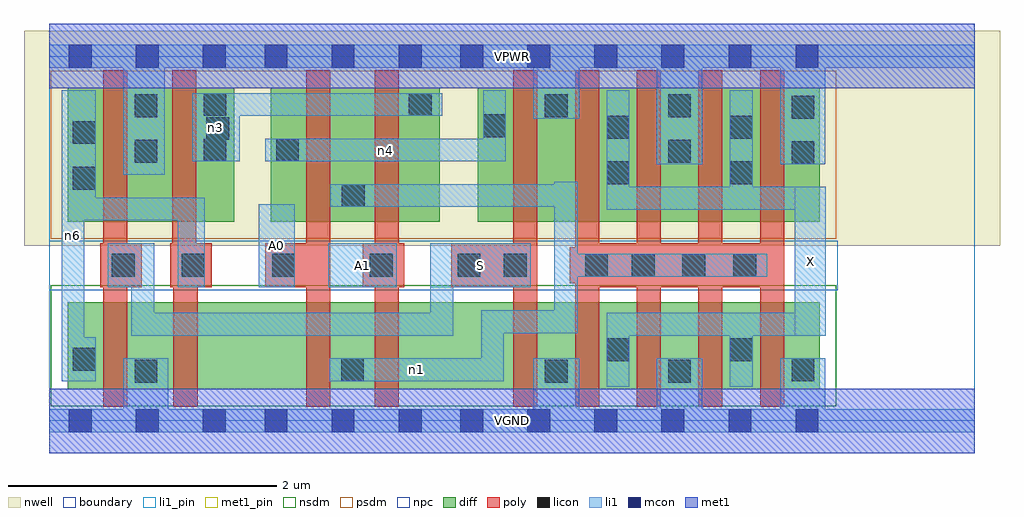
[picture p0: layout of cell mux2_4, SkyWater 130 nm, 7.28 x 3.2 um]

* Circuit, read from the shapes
.subckt mux2_4 A0 A1 S VGND VPWR X n1 n3 n4 n6
XM1 VGND S n6 VSUBS sky130_fd_pr__nfet_01v8 w=0.65 l=0.18
XM2 n2 n6 VGND VSUBS sky130_fd_pr__nfet_01v8 w=0.65 l=0.18
XM3 n1 A0 n2 VSUBS sky130_fd_pr__nfet_01v8 w=0.65 l=0.18
XM4 n5 A1 n1 VSUBS sky130_fd_pr__nfet_01v8 w=0.65 l=0.18
XM5 VGND S n5 VSUBS sky130_fd_pr__nfet_01v8 w=0.65 l=0.18
XM6 X n1 VGND VSUBS sky130_fd_pr__nfet_01v8 w=0.65 l=0.18 m=4
XM7 VPWR S n6 n7 sky130_fd_pr__pfet_01v8 w=1 l=0.18
XM8 n3 n6 VPWR n7 sky130_fd_pr__pfet_01v8 w=1 l=0.18
XM9 n1 A0 n4 n7 sky130_fd_pr__pfet_01v8 w=1 l=0.18
XM10 n3 A1 n1 n7 sky130_fd_pr__pfet_01v8 w=1 l=0.18
XM11 VPWR S n4 n7 sky130_fd_pr__pfet_01v8 w=1 l=0.18
XM12 X n1 VPWR n7 sky130_fd_pr__pfet_01v8 w=1 l=0.18 m=4
.ends

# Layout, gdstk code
import gdstk
lib = gdstk.Library(unit=1e-6, precision=1e-09)
def R(c, l, rs):  # rectangles x0, y0, x1, y1
    for r in rs: c.add(gdstk.rectangle(r[:2], r[2:], *l))
def A(c, l, x, y, w, h, nx, ny, dx, dy):  # array of equal rectangles
    R(c, l, [(x+i*dx, y+j*dy, x+i*dx+w, y+j*dy+h) for i in range(nx) for j in range(ny)])
nwell = (64, 20)
diff = (65, 20)
poly = (66, 20)
licon = (66, 44)
li1_pin = (67, 16)
li1 = (67, 20)
mcon = (67, 44)
met1_pin = (68, 16)
met1 = (68, 20)
nsdm = (93, 44)
psdm = (94, 20)
npc = (95, 20)
boundary = (235, 4)

mux2_4 = lib.new_cell('mux2_4')
R(mux2_4, nwell, [(-0.19,1.305,7.09,2.91), (0,1.305,6.9,2.91)])
R(mux2_4, diff, [(0.135,0.235,5.745,0.885), (0.135,1.485,1.38,2.485), (1.65,1.485,2.91,2.485), (3.195,1.485,5.745,2.485)])
A(mux2_4, poly, 3.46, 0.105, 0.18, 2.51, 5, 1, 0.46, 0)
R(mux2_4, poly, [(0.4,0.105,0.58,2.615), (0.925,0.105,1.105,1.325), (1.915,0.105,2.095,2.615), (2.425,0.105,2.605,2.615), (0.38,0.995,0.69,1.325), (0.9,0.995,1.21,1.325), (0.915,0.995,1.095,2.615), (1.61,0.995,2.095,1.325), (2.335,0.995,2.645,1.325), (2.995,0.995,3.64,1.325), (3.92,0.995,5.48,1.325), (3.88,1.025,5.48,1.295)])
R(mux2_4, licon, [(0.635,0.285,0.805,0.455), (3.695,0.285,3.865,0.455), (4.615,0.285,4.785,0.455), (2.175,0.295,2.345,0.465), (5.535,0.295,5.705,0.465), (0.175,0.375,0.345,0.545), (4.155,0.445,4.325,0.615), (5.075,0.445,5.245,0.615), (0.465,1.075,0.635,1.245), (0.985,1.075,1.155,1.245), (1.66,1.075,1.83,1.245), (2.39,1.075,2.56,1.245), (3.045,1.075,3.215,1.245), (3.39,1.075,3.56,1.245), (3.995,1.075,4.165,1.245), (4.345,1.075,4.515,1.245), (4.72,1.075,4.89,1.245), (5.1,1.075,5.27,1.245), (2.18,1.595,2.35,1.765), (0.175,1.725,0.345,1.895), (4.155,1.765,4.325,1.935), (5.075,1.765,5.245,1.935), (5.535,1.915,5.705,2.085), (0.635,1.925,0.805,2.095), (4.615,1.925,4.785,2.095), (1.15,1.935,1.32,2.105), (1.69,1.935,1.86,2.105), (0.175,2.065,0.345,2.235), (1.17,2.095,1.34,2.265), (4.155,2.105,4.325,2.275), (5.075,2.105,5.245,2.275), (3.235,2.115,3.405,2.285), (5.535,2.255,5.705,2.425), (0.635,2.265,0.805,2.435), (3.695,2.265,3.865,2.435), (4.615,2.265,4.785,2.435), (1.15,2.275,1.32,2.445), (2.68,2.275,2.85,2.445)])
R(mux2_4, li1_pin, [(5.56,0.635,5.79,1.745), (1.56,0.995,1.83,1.615), (2.08,0.995,2.59,1.325), (2.84,0.995,3.59,1.325)])
R(mux2_4, li1, [(0,-0.085,6.9,0.085), (0.55,-0.085,0.885,0.465), (3.61,-0.085,3.95,0.465), (4.53,-0.085,4.87,0.465), (5.45,-0.085,5.785,0.465), (4.155,0.255,4.325,0.805), (5.075,0.255,5.245,0.805), (0.09,0.295,0.26,2.465), (0.09,0.295,0.345,0.625), (2.09,0.295,3.39,0.465), (3.22,0.295,3.39,0.825), (0.61,0.635,3.01,0.805), (0.61,0.635,0.78,1.325), (2.84,0.635,3.01,1.325), (4.155,0.635,5.79,0.805), (5.56,0.635,5.79,1.745), (3.22,0.655,3.94,0.825), (3.765,0.655,3.94,1.785), (0.435,0.995,0.78,1.325), (0.955,0.995,1.16,1.665), (1.56,0.995,1.83,1.615), (2.08,0.995,2.59,1.325), (2.84,0.995,3.59,1.325), (3.765,1.075,5.355,1.245), (0.09,1.495,1.16,1.665), (0.09,1.495,0.345,2.465), (4.155,1.575,5.79,1.745), (4.155,1.575,4.325,2.465), (5.075,1.575,5.245,2.465), (2.095,1.595,3.94,1.765), (0.55,1.835,0.86,2.805), (4.53,1.915,4.87,2.805), (5.45,1.915,5.785,2.805), (1.065,1.935,1.42,2.445), (1.61,1.935,3.405,2.105), (3.235,1.935,3.405,2.465), (3.61,2.255,3.95,2.805), (1.065,2.275,2.93,2.445), (0,2.635,6.9,2.805)])
A(mux2_4, mcon, 0.145, -0.085, 0.17, 0.17, 3, 2, 0.5, 2.72)
A(mux2_4, mcon, 1.605, -0.085, 0.17, 0.17, 3, 2, 0.5, 2.72)
A(mux2_4, mcon, 3.065, -0.085, 0.17, 0.17, 6, 2, 0.5, 2.72)
R(mux2_4, met1_pin, [(0,-0.24,6.9,0.24), (0,2.48,6.9,2.96)])
R(mux2_4, met1, [(0,-0.24,6.9,0.24), (0,2.48,6.9,2.96)])
R(mux2_4, nsdm, [(0.01,0.11,5.87,1.01)])
R(mux2_4, psdm, [(0.01,1.36,5.87,2.61)])
R(mux2_4, npc, [(0,0.975,5.88,1.345)])
R(mux2_4, boundary, [(0,0,6.9,2.72)])
mux2_4.add(gdstk.Label('A0', (1.695,1.305), layer=67, texttype=5))
mux2_4.add(gdstk.Label('A1', (2.335,1.16), layer=67, texttype=5))
mux2_4.add(gdstk.Label('S', (3.215,1.16), layer=67, texttype=5))
mux2_4.add(gdstk.Label('X', (5.675,1.19), layer=67, texttype=5))
mux2_4.add(gdstk.Label('n1', (2.74,0.38), layer=67, texttype=5))
mux2_4.add(gdstk.Label('n3', (1.242,2.19), layer=67, texttype=5))
mux2_4.add(gdstk.Label('n6', (0.175,1.38), layer=67, texttype=5))
mux2_4.add(gdstk.Label('n4', (2.507,2.02), layer=67, texttype=5))
mux2_4.add(gdstk.Label('VPWR', (3.45,2.72), layer=68, texttype=5))
mux2_4.add(gdstk.Label('VGND', (3.45,0), layer=68, texttype=5))
mux2_4.add(gdstk.Label('A0', (1.695,1.305), layer=67, texttype=16))
mux2_4.add(gdstk.Label('A1', (2.335,1.16), layer=67, texttype=16))
mux2_4.add(gdstk.Label('S', (3.215,1.16), layer=67, texttype=16))
mux2_4.add(gdstk.Label('X', (5.675,1.19), layer=67, texttype=16))
mux2_4.add(gdstk.Label('VPWR', (3.45,2.72), layer=68, texttype=16))
mux2_4.add(gdstk.Label('VGND', (3.45,0), layer=68, texttype=16))

lib.write_gds('mux2_4.gds')
